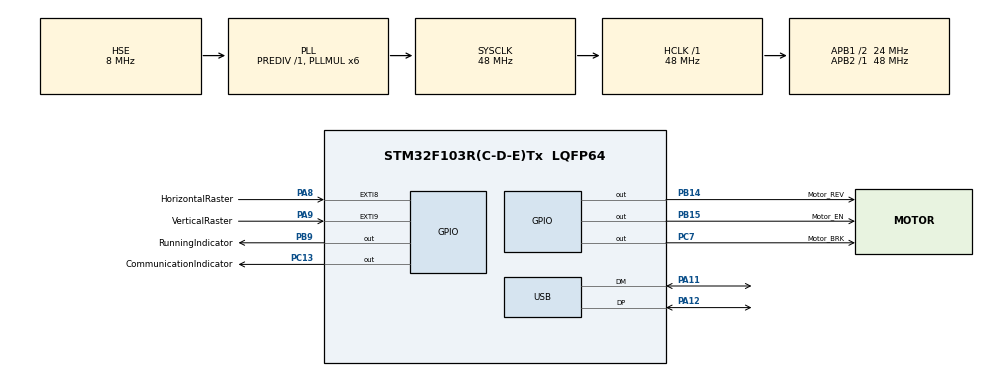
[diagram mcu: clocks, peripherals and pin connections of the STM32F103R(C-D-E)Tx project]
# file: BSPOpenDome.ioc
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Mcu.Family=STM32F1
Mcu.Name=STM32F103R(C-D-E)Tx
Mcu.Package=LQFP64
NVIC.EXTI9_5_IRQn=true\:0\:0\:false\:true\:true\:1\:true
NVIC.PriorityGroup=NVIC_PRIORITYGROUP_4
NVIC.TIM4_IRQn=true\:0\:0\:false\:true\:true\:2\:true
NVIC.USB_LP_CAN1_RX0_IRQn=true\:0\:0\:false\:false\:true\:false
PA11.Mode=Device
PA11.Signal=USB_DM
PA12.Mode=Device
PA12.Signal=USB_DP
PA8.GPIO_Label=HorizontalRaster
PA8.GPIO_ModeDefaultEXTI=GPIO_MODE_IT_RISING_FALLING
PA8.GPIO_PuPd=GPIO_PULLUP
PA8.Signal=GPXTI8
PA9.GPIO_Label=VerticalRaster
PA9.GPIO_ModeDefaultEXTI=GPIO_MODE_IT_RISING_FALLING
PA9.GPIO_PuPd=GPIO_PULLUP
PA9.Signal=GPXTI9
PB14.GPIO_Label=Motor_REV
PB14.Signal=GPIO_Output
PB15.GPIO_Label=Motor_EN
PB15.Signal=GPIO_Output
PB9.GPIO_Label=RunningIndicator
PB9.Signal=GPIO_Output
PC13-TAMPER-RTC.GPIO_Label=CommunicationIndicator
PC13-TAMPER-RTC.Signal=GPIO_Output
PC7.GPIO_Label=Motor_BRK
PC7.Signal=GPIO_Output
PD0-OSC_IN.Mode=HSE-External-Oscillator
PD0-OSC_IN.Signal=RCC_OSC_IN
PD1-OSC_OUT.Mode=HSE-External-Oscillator
PD1-OSC_OUT.Signal=RCC_OSC_OUT
ProjectManager.HeapSize=0x200
ProjectManager.StackSize=0x400
ProjectManager.TargetToolchain=EWARM
RCC.AHBFreq_Value=48000000
RCC.APB1CLKDivider=RCC_HCLK_DIV2
RCC.APB1Freq_Value=24000000
RCC.APB1TimFreq_Value=48000000
RCC.APB2Freq_Value=48000000
RCC.APB2TimFreq_Value=48000000
RCC.HCLKFreq_Value=48000000
RCC.PLLMUL=RCC_PLL_MUL6
RCC.PLLSourceVirtual=RCC_PLLSOURCE_HSE
RCC.SYSCLKFreq_VALUE=48000000
RCC.SYSCLKSource=RCC_SYSCLKSOURCE_PLLCLK
RCC.USBFreq_Value=48000000
TIM4.AutoReloadPreload=TIM_AUTORELOAD_PRELOAD_ENABLE
TIM4.Period=1000-1
TIM4.Prescaler=48-1
USB_DEVICE.CLASS_NAME_FS=CDC
USB_DEVICE.VirtualMode=Cdc
USB_DEVICE.VirtualModeFS=Cdc_FS
VP_SYS_VS_ND.Mode=No_Debug
VP_TIM4_VS_ClockSourceINT.Mode=Internal
VP_USB_DEVICE_VS_USB_DEVICE_CDC_FS.Mode=CDC_FS
board=BSPOpenDome

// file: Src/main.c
/**
  ******************************************************************************
  * File Name          : main.c
  * Description        : Main program body
  ******************************************************************************
  * This notice applies to any and all portions of this file
  * that are not between comment pairs USER CODE BEGIN and
  * USER CODE END. Other portions of this file, whether
  * inserted by the user or by software development tools
  * are owned by their respective copyright owners.
  *
  * Copyright (c) 2017 STMicroelectronics International N.V.
  * All rights reserved.
  *
  * Redistribution and use in source and binary forms, with or without
  * modification, are permitted, provided that the following conditions are met:
  *
  * 1. Redistribution of source code must retain the above copyright notice,
  *    this list of conditions and the following disclaimer.
  * 2. Redistributions in binary form must reproduce the above copyright notice,
  *    this list of conditions and the following disclaimer in the documentation
  *    and/or other materials provided with the distribution.
  * 3. Neither the name of STMicroelectronics nor the names of other
  *    contributors to this software may be used to endorse or promote products
  *    derived from this software without specific written permission.
  * 4. This software, including modifications and/or derivative works of this
  *    software, must execute solely and exclusively on microcontroller or
  *    microprocessor devices manufactured by or for STMicroelectronics.
  * 5. Redistribution and use of this software other than as permitted under
  *    this license is void and will automatically terminate your rights under
  *    this license.
  *
  * THIS SOFTWARE IS PROVIDED BY STMICROELECTRONICS AND CONTRIBUTORS "AS IS"
  * AND ANY EXPRESS, IMPLIED OR STATUTORY WARRANTIES, INCLUDING, BUT NOT
  * LIMITED TO, THE IMPLIED WARRANTIES OF MERCHANTABILITY, FITNESS FOR A
  * PARTICULAR PURPOSE AND NON-INFRINGEMENT OF THIRD PARTY INTELLECTUAL PROPERTY
  * RIGHTS ARE DISCLAIMED TO THE FULLEST EXTENT PERMITTED BY LAW. IN NO EVENT
  * SHALL STMICROELECTRONICS OR CONTRIBUTORS BE LIABLE FOR ANY DIRECT, INDIRECT,
  * INCIDENTAL, SPECIAL, EXEMPLARY, OR CONSEQUENTIAL DAMAGES (INCLUDING, BUT NOT
  * LIMITED TO, PROCUREMENT OF SUBSTITUTE GOODS OR SERVICES; LOSS OF USE, DATA,
  * OR PROFITS; OR BUSINESS INTERRUPTION) HOWEVER CAUSED AND ON ANY THEORY OF
  * LIABILITY, WHETHER IN CONTRACT, STRICT LIABILITY, OR TORT (INCLUDING
  * NEGLIGENCE OR OTHERWISE) ARISING IN ANY WAY OUT OF THE USE OF THIS SOFTWARE,
  * EVEN IF ADVISED OF THE POSSIBILITY OF SUCH DAMAGE.
  *
  ******************************************************************************
  */

#include "main.h"
#include "stm32f1xx_hal.h"
#include "tim.h"
#include "usb_device.h"
#include "gpio.h"

/* USER CODE BEGIN PV */
/* Private variables ---------------------------------------------------------*/
uint8_t gVerticalRasterFlag = 0;
uint8_t gHorizontalRasterFlag = 0;
uint8_t gVState = 0;
uint8_t gHState = 0;
uint16_t gTIM4Cnt = 0;
enum RUNSTATE gRunState;

/* USER CODE END PV */

void SystemClock_Config(void);
static void MX_NVIC_Init(void);

/* USER CODE BEGIN PFP */
/* Private function prototypes -----------------------------------------------*/

/* USER CODE END PFP */

int main(void)
{

  /* MCU Configuration----------------------------------------------------------*/

  /* Reset of all peripherals, Initializes the Flash interface and the Systick. */
  HAL_Init();

  /* Configure the system clock */
  SystemClock_Config();

  /* Initialize all configured peripherals */
  MX_GPIO_Init();
  MX_USB_DEVICE_Init();
  MX_TIM4_Init();

  /* Initialize interrupts */
  MX_NVIC_Init();

  /* USER CODE BEGIN 2 */
  HAL_TIM_Base_Start_IT(&htim4);
  BSP_Motor_Init();

  /* USER CODE END 2 */

  /* Infinite loop */
  while (1)
  {

  /* USER CODE BEGIN 3 */

    if(1 == gHState && 1 == gVState)
    {
      gRunState = StopState;
    }

    if(0 == gHState && 1 == gVState)
    {
      if(RunningState == gRunState)
      {
        BSP_Motor_RunOpen();
      }
    }

    if(1 == gHState && 0 == gVState)
    {
      if(RunningState == gRunState)
      {
        BSP_Motor_RunDown();
      }
    }

  }
  /* USER CODE END 3 */

}

/** System Clock Configuration
*/
void SystemClock_Config(void)
{

  RCC_OscInitTypeDef RCC_OscInitStruct;
  RCC_ClkInitTypeDef RCC_ClkInitStruct;
  RCC_PeriphCLKInitTypeDef PeriphClkInit;

    /**Initializes the CPU, AHB and APB busses clocks
    */
  RCC_OscInitStruct.OscillatorType = RCC_OSCILLATORTYPE_HSE;
  RCC_OscInitStruct.HSEState = RCC_HSE_ON;
  RCC_OscInitStruct.HSEPredivValue = RCC_HSE_PREDIV_DIV1;
  RCC_OscInitStruct.HSIState = RCC_HSI_ON;
  RCC_OscInitStruct.PLL.PLLState = RCC_PLL_ON;
  RCC_OscInitStruct.PLL.PLLSource = RCC_PLLSOURCE_HSE;
  RCC_OscInitStruct.PLL.PLLMUL = RCC_PLL_MUL6;
  if (HAL_RCC_OscConfig(&RCC_OscInitStruct) != HAL_OK)
  {
    _Error_Handler(__FILE__, __LINE__);
  }

    /**Initializes the CPU, AHB and APB busses clocks
    */
  RCC_ClkInitStruct.ClockType = RCC_CLOCKTYPE_HCLK|RCC_CLOCKTYPE_SYSCLK
                              |RCC_CLOCKTYPE_PCLK1|RCC_CLOCKTYPE_PCLK2;
  RCC_ClkInitStruct.SYSCLKSource = RCC_SYSCLKSOURCE_PLLCLK;
  RCC_ClkInitStruct.AHBCLKDivider = RCC_SYSCLK_DIV1;
  RCC_ClkInitStruct.APB1CLKDivider = RCC_HCLK_DIV2;
  RCC_ClkInitStruct.APB2CLKDivider = RCC_HCLK_DIV1;

  if (HAL_RCC_ClockConfig(&RCC_ClkInitStruct, FLASH_LATENCY_1) != HAL_OK)
  {
    _Error_Handler(__FILE__, __LINE__);
  }

  PeriphClkInit.PeriphClockSelection = RCC_PERIPHCLK_USB;
  PeriphClkInit.UsbClockSelection = RCC_USBCLKSOURCE_PLL;
  if (HAL_RCCEx_PeriphCLKConfig(&PeriphClkInit) != HAL_OK)
  {
    _Error_Handler(__FILE__, __LINE__);
  }

    /**Configure the Systick interrupt time
    */
  HAL_SYSTICK_Config(HAL_RCC_GetHCLKFreq()/1000);

    /**Configure the Systick
    */
  HAL_SYSTICK_CLKSourceConfig(SYSTICK_CLKSOURCE_HCLK);

  /* SysTick_IRQn interrupt configuration */
  HAL_NVIC_SetPriority(SysTick_IRQn, 0, 0);
}

/** NVIC Configuration
*/
static void MX_NVIC_Init(void)
{
  /* EXTI9_5_IRQn interrupt configuration */
  HAL_NVIC_SetPriority(EXTI9_5_IRQn, 0, 0);
  HAL_NVIC_EnableIRQ(EXTI9_5_IRQn);
  /* TIM4_IRQn interrupt configuration */
  HAL_NVIC_SetPriority(TIM4_IRQn, 0, 0);
  HAL_NVIC_EnableIRQ(TIM4_IRQn);
}

/* USER CODE BEGIN 4 */
/**
  * @brief  Period elapsed callback in non blocking mode
  * @param  htim : TIM handle
  * @retval None
  */
void HAL_TIM_PeriodElapsedCallback(TIM_HandleTypeDef *htim)
{
  /* Prevent unused argument(s) compilation warning */
  UNUSED(htim);
  /* NOTE : This function Should not be modified, when the callback is needed,
            the __HAL_TIM_PeriodElapsedCallback could be implemented in the user file
   */
  if(htim4.Instance == htim->Instance)
  {

    if(gTIM4Cnt > 3500)
    {
      gRunState = RunningState;
      gTIM4Cnt = 0;
    }
    if(0 == gTIM4Cnt%100)
    {
      BSP_RunningIndicator_Toggle();
      BSP_CommunicationIndicator_Toggle();
      //BSP_RunningIndicator_OFF();
    }

    if(GPIO_PIN_RESET == HAL_GPIO_ReadPin(VerticalRaster_GPIO_Port,VerticalRaster_Pin))
    {
      gVState = 1;
    }
    else
    {
      gVState = 0;
    }

    if(GPIO_PIN_RESET == HAL_GPIO_ReadPin(HorizontalRaster_GPIO_Port,HorizontalRaster_Pin))
    {
      gHState = 1;
    }
    else
    {
      gHState = 0;
    }

    gTIM4Cnt ++;

//    if(1 == gHState && 1 == gVState)
//    {
//      gRunState = StopState;
//    }
//
//    if(0 == gHState && 1 == gVState)
//    {
//      if(RunningState == gRunState)
//      {
//        BSP_Motor_RunOpen();
//      }
//    }
//
//    if(1 == gHState && 0 == gVState)
//    {
//      if(RunningState == gRunState)
//      {
//        BSP_Motor_RunDown();
//      }
//    }

  }
}

/**
  * @brief  EXTI line detection callbacks.
  * @param  GPIO_Pin: Specifies the pins connected EXTI line
  * @retval None
  */
void HAL_GPIO_EXTI_Callback(uint16_t GPIO_Pin)
{
  /* Prevent unused argument(s) compilation warning */
  UNUSED(GPIO_Pin);
  /* NOTE: This function Should not be modified, when the callback is needed,
           the HAL_GPIO_EXTI_Callback could be implemented in the user file
   */
  if(VerticalRaster_Pin == GPIO_Pin)
  {
    HAL_Delay(1);
    if(GPIO_PIN_RESET == HAL_GPIO_ReadPin(VerticalRaster_GPIO_Port,VerticalRaster_Pin))
    {
      gVerticalRasterFlag = 0;
    }
    else
    {
      gVerticalRasterFlag = 1;
      BSP_Motor_Stop();
      gRunState = StopState;
    }
  }

  if(HorizontalRaster_Pin == GPIO_Pin)
  {
    HAL_Delay(1);
    if(GPIO_PIN_RESET == HAL_GPIO_ReadPin(HorizontalRaster_GPIO_Port,HorizontalRaster_Pin))
    {
      gHorizontalRasterFlag = 0;
    }
    else
    {
      gHorizontalRasterFlag = 1;
      BSP_Motor_Stop();
      gRunState = StopState;
    }
  }

}
/* USER CODE END 4 */

void _Error_Handler(char * file, int line)
{
  while(1)
  {
  }
}

/************************ (C) COPYRIGHT STMicroelectronics *****END OF FILE****/
